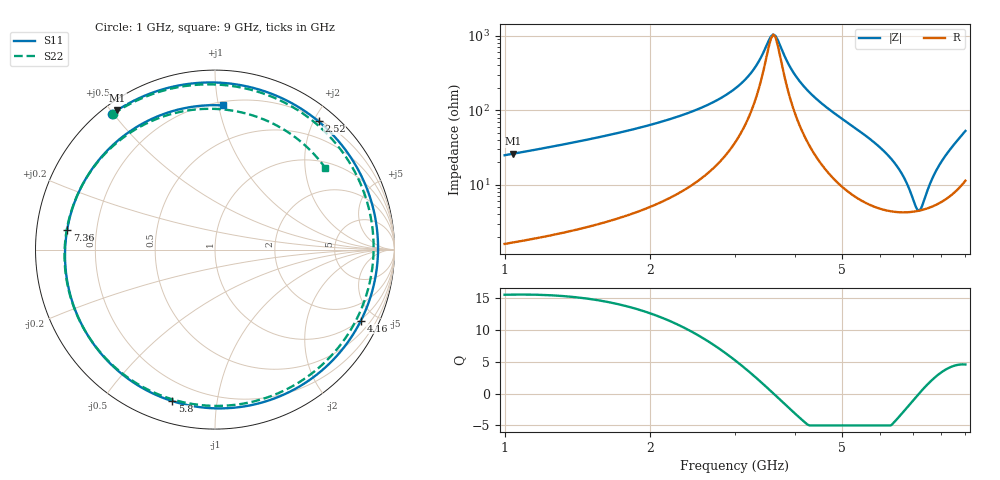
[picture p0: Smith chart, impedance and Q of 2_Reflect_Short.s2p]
! Touchstone 1.1 File - TRL Reflect Standard - Short (-1) on Port 1 & Port 2
! TRL Synthetic Dataset | eps_eff = 3.0 | f_c = 5.0 GHz | delta_l = 8.6543 mm
! Reference Impedance: 50 Ohms | Frequency: 1.0 to 9.0 GHz (201 points)
# GHz S RI R 50
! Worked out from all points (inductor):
!   201 points, 1 GHz to 9 GHz, reference 50 ohm
!   read as one part to ground: L = 3.63 nH near 1.04 GHz
!   highest Q = 15.5 at 1.04 GHz (marker M1), where L = 3.98 nH
!   self-resonance near 3.605 GHz
!   S11 on the Smith chart (normalised r, x): 1 GHz: 0.03, +0.50; 2.52 GHz: 0.23, +2.07; 4.16 GHz: 0.95, -4.13; 5.8 GHz: 0.10, -0.75; 7.36 GHz: 0.09, +0.07; 9 GHz: 0.23, +1.03
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1  -0.5724 0.7579  0 0  0 0  -0.5677 0.7548
1.04  -0.5438 0.7772  0 0  0 0  -0.5379 0.7745
1.4  -0.2655 0.9001  0 0  0 0  -0.2419 0.8974
1.72  -0.00421 0.9311  0 0  0 0  0.045 0.9173
2.04  0.2491 0.8909  0 0  0 0  0.3266 0.8475
2.36  0.4769 0.787  0 0  0 0  0.5746 0.6921
2.52  0.5768 0.7144  0 0  0 0  0.6774 0.5861
2.84  0.7415 0.5356  0 0  0 0  0.8255 0.3306
3.12  0.8418 0.3513  0 0  0 0  0.8814 0.0777
3.68  0.9062 -0.0558  0 0  0 0  0.7723 -0.4194
4.16  0.8127 -0.3959  0 0  0 0  0.4792 -0.7326
4.56  0.6378 -0.6348  0 0  0 0  0.1539 -0.8587
5  0.3634 -0.8165  0 0  0 0  -0.2172 -0.8402
5.4  0.0672 -0.8837  0 0  0 0  -0.5104 -0.6944
5.8  -0.238 -0.8441  0 0  0 0  -0.7217 -0.4563
6.36  -0.6053 -0.6128  0 0  0 0  -0.8383 -0.0413
6.88  -0.8045 -0.2597  0 0  0 0  -0.7488 0.3418
7.36  -0.8235 0.1118  0 0  0 0  -0.5171 0.6195
7.68  -0.7468 0.3451  0 0  0 0  -0.3037 0.7361
8  -0.6085 0.5433  0 0  0 0  -0.0635 0.7837
8.32  -0.4232 0.6911  0 0  0 0  0.1821 0.7558
9  0.0454 0.8031  0 0  0 0  0.6136 0.4561
